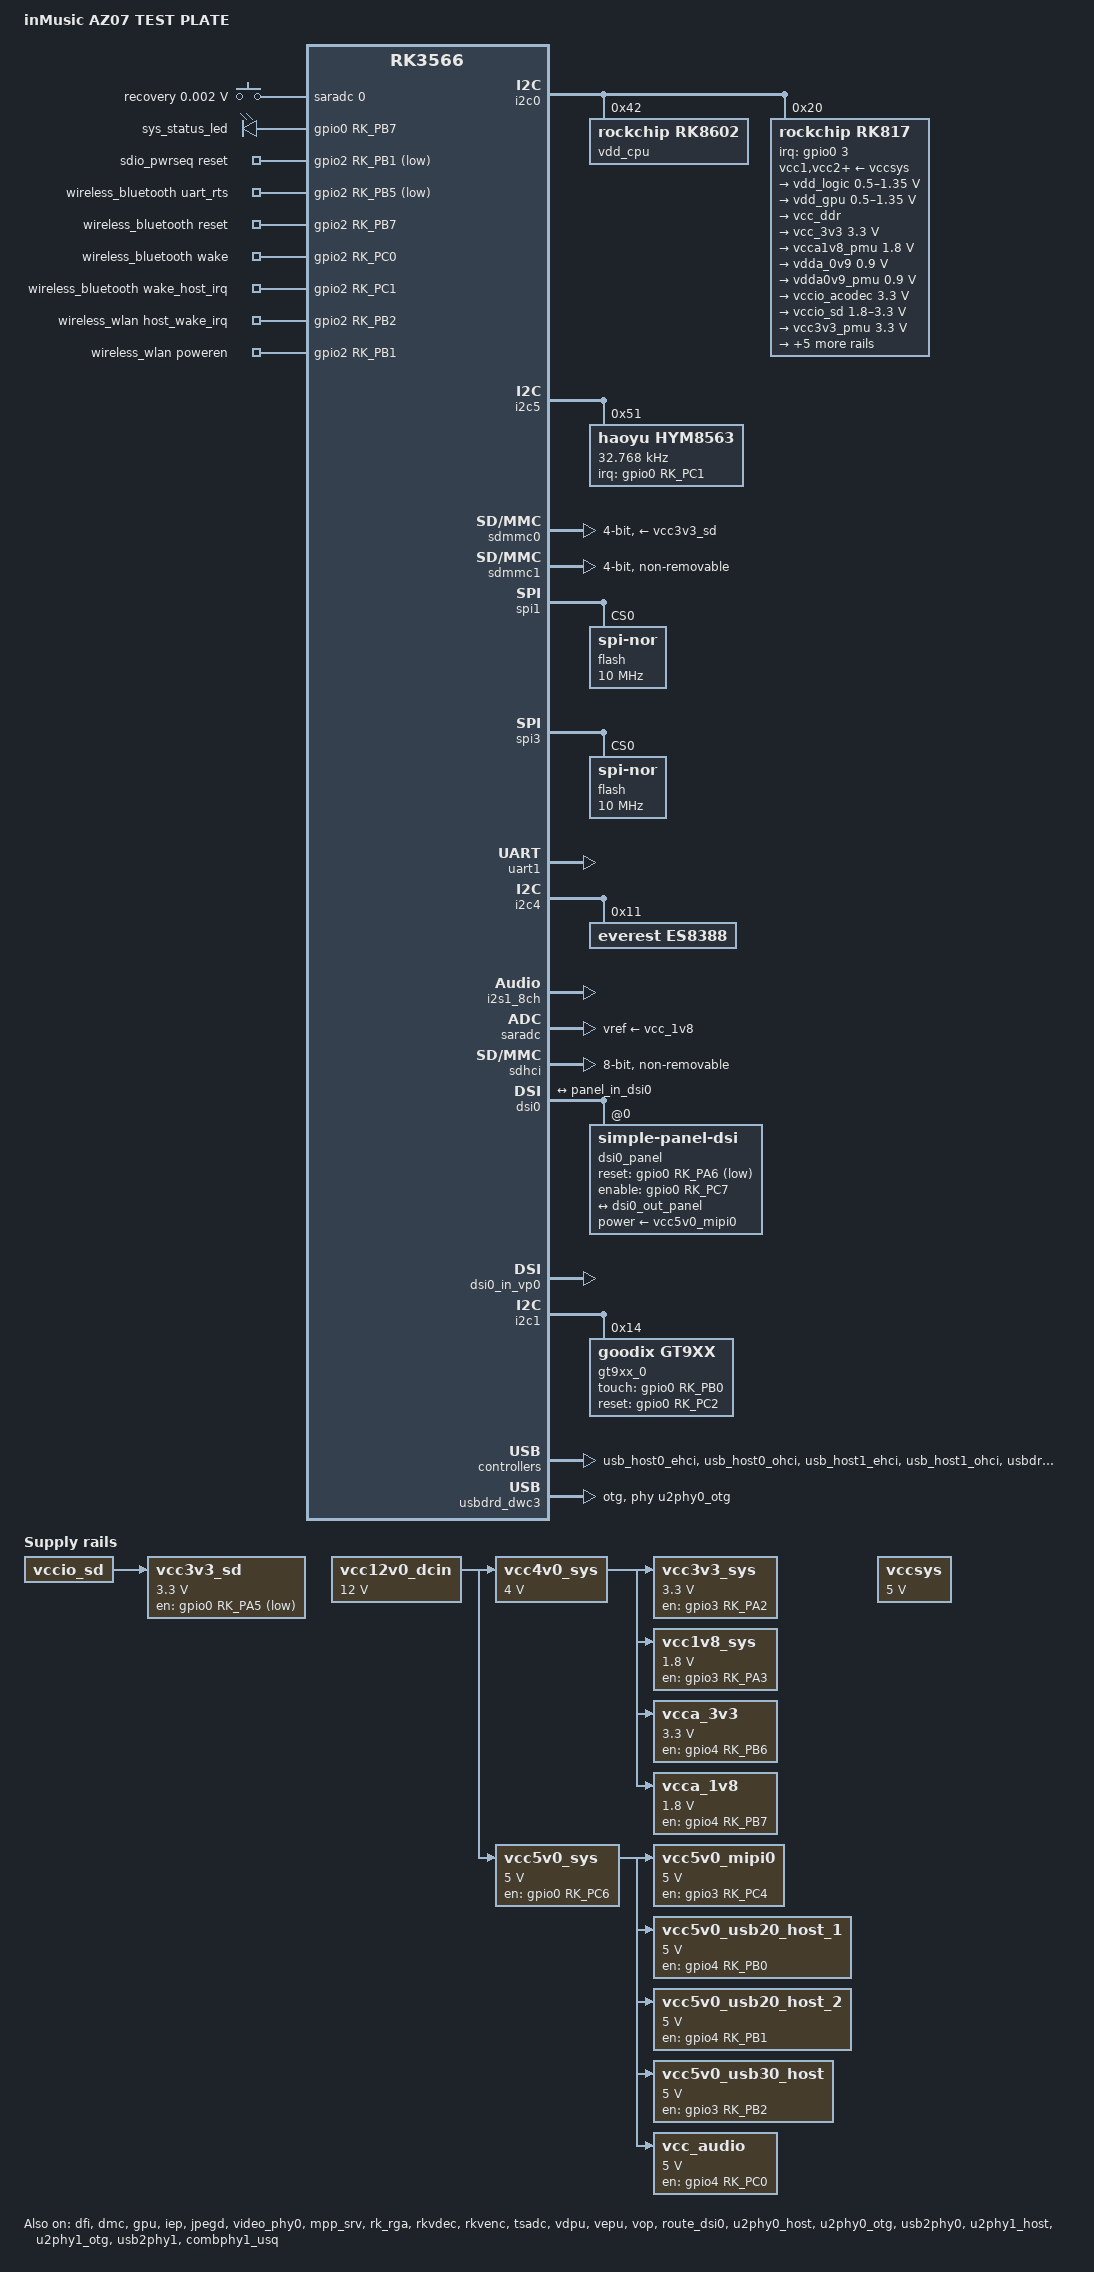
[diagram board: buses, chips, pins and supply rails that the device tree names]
// SPDX-License-Identifier: (GPL-2.0+ OR MIT)
/*
 * Copyright (c) 2025 Rockchip Electronics Co., Ltd.
 * Copyright (c) 2025 Focalcrest Co., Ltd.
 */

/dts-v1/;

#include <dt-bindings/gpio/gpio.h>
#include <dt-bindings/pinctrl/rockchip.h>
#include <dt-bindings/pwm/pwm.h>
#include <dt-bindings/input/rk-input.h>
#include <dt-bindings/display/drm_mipi_dsi.h>
#include <dt-bindings/display/media-bus-format.h>
#include <dt-bindings/display/rockchip_vop.h>
#include "rk3566.dtsi"
#include "rk3568-linux.dtsi"

/ {
	model = "inMusic AZ07 TEST PLATE";
	compatible = "rockchip,rk3588s-inmusic-az07", "rockchip,rk3566";

        recovery_key: recovery-key {
                compatible = "adc-keys";
                io-channels = <&saradc 0>;
                io-channel-names = "buttons";
                keyup-threshold-microvolt = <1800000>;
                poll-interval = <100>;

                recovery {
                        label = "recovery";
                        linux,code = <KEY_VOLUMEUP>;
                        press-threshold-microvolt = <2000>;
                };
        };

        leds: leds {
                compatible = "gpio-leds";
                status = "okay";

                sys_status_led: sys-status-led {
                        label = "sys_status_led";
                        linux,default-trigger = "heartbeat";
			gpios = <&gpio0 RK_PB7 GPIO_ACTIVE_HIGH>;
                        pinctrl-names = "default";
                        pinctrl-0 = <&sys_status_led_pin>;
                };
        };

        vcc12v0_dcin: vcc5v0-dcin {
                compatible = "regulator-fixed";
                regulator-name = "vcc12v_dcin";
                regulator-always-on;
                regulator-boot-on;
                regulator-min-microvolt = <12000000>;
                regulator-max-microvolt = <12000000>;
        };

        vcc4v0_sys: vcc4v0-sys {
                compatible = "regulator-fixed";
                regulator-name = "vcc4v0_sys";
                regulator-always-on;
                regulator-boot-on;
                regulator-min-microvolt = <4000000>;
                regulator-max-microvolt = <4000000>;
                vin-supply = <&vcc12v0_dcin>;
        };

        vcc5v0_sys: vcc5v0-sys {
                compatible = "regulator-fixed";
                regulator-name = "vcc5v0_sys";
                regulator-always-on;
                regulator-boot-on;
                regulator-min-microvolt = <5000000>;
                regulator-max-microvolt = <5000000>;
                enable-active-high;
                gpio = <&gpio0 RK_PC6 GPIO_ACTIVE_HIGH>;
                vin-supply = <&vcc12v0_dcin>;
        };

        vcc3v3_sys: vcc3v3-sys {
                compatible = "regulator-fixed";
                regulator-name = "vcc3v3_sys";
                regulator-always-on;
                regulator-boot-on;
                regulator-min-microvolt = <3300000>;
                regulator-max-microvolt = <3300000>;
                enable-active-high;
                gpio = <&gpio3 RK_PA2 GPIO_ACTIVE_HIGH>;
                vin-supply = <&vcc4v0_sys>;
        };

        vcc1v8_sys: vcc1v8-sys {
                compatible = "regulator-fixed";
                regulator-name = "vcc1v8_sys";
                regulator-always-on;
                regulator-boot-on;
                regulator-min-microvolt = <1800000>;
                regulator-max-microvolt = <1800000>;
                enable-active-high;
                gpio = <&gpio3 RK_PA3 GPIO_ACTIVE_HIGH>;
                vin-supply = <&vcc4v0_sys>;
        };

        vcca_3v3: vcca-3v3 {
                compatible = "regulator-fixed";
                regulator-name = "vcca_3v3";
                regulator-always-on;
                regulator-boot-on;
                regulator-min-microvolt = <3300000>;
                regulator-max-microvolt = <3300000>;
                enable-active-high;
                gpio = <&gpio4 RK_PB6 GPIO_ACTIVE_HIGH>;
                vin-supply = <&vcc4v0_sys>;
        };

        vcca_1v8: vcca-1v8 {
                compatible = "regulator-fixed";
                regulator-name = "vcca_1v8";
                regulator-always-on;
                regulator-boot-on;
                regulator-min-microvolt = <1800000>;
                regulator-max-microvolt = <1800000>;
                enable-active-high;
                gpio = <&gpio4 RK_PB7 GPIO_ACTIVE_HIGH>;
                vin-supply = <&vcc4v0_sys>;
        };

        vcc5v0_mipi0: vcc5v0-mipi0 {
                compatible = "regulator-fixed";
                regulator-name = "vcc5v0_mipi0";
                regulator-min-microvolt = <5000000>;
                regulator-max-microvolt = <5000000>;
                gpio = <&gpio3 RK_PC4 GPIO_ACTIVE_HIGH>;
                vin-supply = <&vcc5v0_sys>;
                enable-active-high;
                regulator-boot-on;
                regulator-always-on;
        };

        vcc5v0_usb20_host_1: vcc5v0-usb20-host-1 {
                compatible = "regulator-fixed";
                regulator-name = "vcc5v0_usb20_host_1";
                regulator-min-microvolt = <5000000>;
                regulator-max-microvolt = <5000000>;
                enable-active-high;
                regulator-boot-on;
                regulator-always-on;
                gpio = <&gpio4 RK_PB0 GPIO_ACTIVE_HIGH>;
                vin-supply = <&vcc5v0_sys>;
                pinctrl-names = "default";
                pinctrl-0 = <&usb20_host_1_pwr_en>;
        };

        vcc5v0_usb20_host_2: vcc5v0-usb20-host-2 {
                compatible = "regulator-fixed";
                regulator-name = "vcc5v0_usb20_host_2";
                regulator-min-microvolt = <5000000>;
                regulator-max-microvolt = <5000000>;
                enable-active-high;
                regulator-boot-on;
                regulator-always-on;
                gpio = <&gpio4 RK_PB1 GPIO_ACTIVE_HIGH>;
                vin-supply = <&vcc5v0_sys>;
                pinctrl-names = "default";
                pinctrl-0 = <&usb20_host_2_pwr_en>;
        };

        vcc5v0_usb30_host: vcc5v0-usb30-host {
                compatible = "regulator-fixed";
                regulator-name = "vcc5v0_usb30_host";
                regulator-min-microvolt = <5000000>;
                regulator-max-microvolt = <5000000>;
                enable-active-high;
                regulator-boot-on;
                regulator-always-on;
                gpio = <&gpio3 RK_PB2 GPIO_ACTIVE_HIGH>;
                vin-supply = <&vcc5v0_sys>;
                pinctrl-names = "default";
                pinctrl-0 = <&usb30_host_pwr_en>;
        };

        vcc3v3_sd: vcc3v3-sd {
                compatible = "regulator-fixed";
                regulator-name = "vcc3v3_sd";
                regulator-min-microvolt = <3300000>;
                regulator-max-microvolt = <3300000>;
                enable-active-low;
                regulator-boot-on;
                regulator-always-on;
                gpio = <&gpio0 RK_PA5 GPIO_ACTIVE_LOW>;
                vin-supply = <&vccio_sd>;
        };

        vcc_audio: vcc-audio {
                compatible = "regulator-fixed";
                regulator-name = "vcc_audio";
                regulator-min-microvolt = <5000000>;
                regulator-max-microvolt = <5000000>;
                gpio = <&gpio4 RK_PC0 GPIO_ACTIVE_HIGH>;
                vin-supply = <&vcc5v0_sys>;
                enable-active-high;
                regulator-boot-on;
                regulator-always-on;
        };

	vccsys: vccsys {
		compatible = "regulator-fixed";
		regulator-name = "vcc5_sys";
		regulator-always-on;
		regulator-boot-on;
		regulator-min-microvolt = <5000000>;
		regulator-max-microvolt = <5000000>;
	};

        sdio_pwrseq: sdio-pwrseq {
                compatible = "mmc-pwrseq-simple";
                clocks = <&hym8563>;
                clock-names = "ext_clock";
                pinctrl-names = "default";
                pinctrl-0 = <&wifi_enable_h>;
                /*
                 * On the module itself this is one of these (depending
                 * on the actual card populated):
                 * - SDIO_RESET_L_WL_REG_ON
                 * - PDN (power down when low)
                 */
                post-power-on-delay-ms = <200>;
                reset-gpios = <&gpio2 RK_PB1 GPIO_ACTIVE_LOW>;
        };

        wireless_bluetooth: wireless-bluetooth {
                compatible = "bluetooth-platdata";
                clocks = <&hym8563>;
                clock-names = "ext_clock";
                uart_rts_gpios = <&gpio2 RK_PB5 GPIO_ACTIVE_LOW>;
                pinctrl-names = "default", "rts_gpio";
                pinctrl-0 = <&uart1m0_rtsn>,  <&bt_reset_gpio>, <&bt_wake_gpio>, <&bt_irq_gpio>;
                pinctrl-1 = <&uart1_gpios>;
                BT,reset_gpio    = <&gpio2 RK_PB7 GPIO_ACTIVE_HIGH>;
                BT,wake_gpio     = <&gpio2 RK_PC0 GPIO_ACTIVE_HIGH>;
                BT,wake_host_irq = <&gpio2 RK_PC1 GPIO_ACTIVE_HIGH>;
                status = "okay";
        };

        wireless_wlan: wireless-wlan {
                compatible = "wlan-platdata";
		rockchip,grf = <&grf>;
                wifi_chip_type = "ap6256";
                pinctrl-names = "default";
                pinctrl-0 = <&wifi_host_wake_irq>;
                WIFI,host_wake_irq = <&gpio2 RK_PB2 GPIO_ACTIVE_HIGH>;
                WIFI,poweren_gpio = <&gpio2 RK_PB1 GPIO_ACTIVE_HIGH>;
                status = "okay";
        };

        es8388_sound: es8388-sound {
                status = "okay";
                compatible = "rockchip,multicodecs-card";
                rockchip,card-name = "rockchip-es8388";
                rockchip,format = "i2s";
                rockchip,mclk-fs = <256>;
                rockchip,cpu = <&i2s1_8ch>;
                rockchip,codec = <&es8388>;
                rockchip,audio-routing =
                        "Headphone", "LOUT1",
                        "Headphone", "ROUT1",
                        "Speaker", "LOUT2",
                        "Speaker", "ROUT2",
                        "Headphone", "Headphone Power",
                        "Headphone", "Headphone Power",
                        "Speaker", "Speaker Power",
                        "Speaker", "Speaker Power",
                        "LINPUT1", "Headset Mic",
                        "RINPUT1", "Headset Mic",
                        "LINPUT2", "Main Mic",
                        "RINPUT2", "Main Mic";
        };
};

&bus_npu {
	bus-supply = <&vdd_logic>;
	pvtm-supply = <&vdd_cpu>;
	status = "disabled";
};

&cpu0 {
        cpu-supply = <&vdd_cpu>;
};

&cpu1 {
        cpu-supply = <&vdd_cpu>;
};

&cpu2 {
        cpu-supply = <&vdd_cpu>;
};

&cpu3 {
        cpu-supply = <&vdd_cpu>;
};

&dfi {
	status = "okay";
};

&dmc {
	center-supply = <&vdd_logic>;
	status = "okay";
};

&gpu {
	mali-supply = <&vdd_gpu>;
	status = "okay";
};

&i2c0 {
	status = "okay";

        vdd_cpu: regulator@42 {
                compatible = "rockchip,rk8602";
                reg = <0x42>;
                rockchip,suspend-voltage-selector = <1>;
                regulator-name = "vdd_cpu";
                regulator-always-on;
                regulator-boot-on;
                regulator-min-microvolt = <712500>;
                regulator-max-microvolt = <1200000>;
                regulator-ramp-delay = <2300>;
		status = "okay";

                regulator-state-mem {
                        regulator-on-in-suspend;
                };
        };

	rk817: pmic@20 {
		compatible = "rockchip,rk817";
		reg = <0x20>;
		interrupt-parent = <&gpio0>;
		interrupts = <3 IRQ_TYPE_LEVEL_LOW>;

		pinctrl-names = "default";
		pinctrl-0 = <&pmic_int>;
		rockchip,system-power-controller;
		wakeup-source;
		#clock-cells = <1>;
		clock-output-names = "rk808-clkout1", "rk808-clkout2";
		//fb-inner-reg-idxs = <2>;
		/* 1: rst regs (default in codes), 0: rst the pmic */
		pmic-reset-func = <0>;
		/* not save the PMIC_POWER_EN register in uboot */
		not-save-power-en = <1>;

		vcc1-supply = <&vccsys>;
		vcc2-supply = <&vccsys>;
		vcc3-supply = <&vccsys>;
		vcc4-supply = <&vccsys>;
		vcc5-supply = <&vccsys>;
		vcc6-supply = <&vccsys>;
		vcc7-supply = <&vccsys>;
		vcc8-supply = <&vccsys>;

		pwrkey {
			status = "okay";
		};


		regulators {
			vdd_logic: DCDC_REG1 {
				regulator-always-on;
				regulator-boot-on;
				regulator-min-microvolt = <500000>;
				regulator-max-microvolt = <1350000>;
				regulator-init-microvolt = <900000>;
				regulator-ramp-delay = <6001>;
				regulator-initial-mode = <0x2>;
				regulator-name = "vdd_logic";
				regulator-state-mem {
					regulator-off-in-suspend;
					regulator-suspend-microvolt = <900000>;
				};
			};

			vdd_gpu: DCDC_REG2 {
				regulator-always-on;
				regulator-boot-on;
				regulator-min-microvolt = <500000>;
				regulator-max-microvolt = <1350000>;
				regulator-init-microvolt = <900000>;
				regulator-ramp-delay = <6001>;
				regulator-initial-mode = <0x2>;
				regulator-name = "vdd_gpu";
				regulator-state-mem {
					regulator-off-in-suspend;
				};
			};

			vcc_ddr: DCDC_REG3 {
				regulator-always-on;
				regulator-boot-on;
				regulator-initial-mode = <0x2>;
				regulator-name = "vcc_ddr";
				regulator-state-mem {
					regulator-on-in-suspend;
				};
			};

			vcc_3v3: DCDC_REG4 {
				regulator-always-on;
				regulator-boot-on;
				regulator-min-microvolt = <3300000>;
				regulator-max-microvolt = <3300000>;
				regulator-initial-mode = <0x2>;
				regulator-name = "vcc_3v3";
				regulator-state-mem {
					regulator-on-in-suspend;
					regulator-suspend-microvolt = <3300000>;
				};
			};

			vcca1v8_pmu: LDO_REG1 {
				regulator-always-on;
				regulator-boot-on;
				regulator-min-microvolt = <1800000>;
				regulator-max-microvolt = <1800000>;
				regulator-name = "vcca1v8_pmu";
				regulator-state-mem {
					regulator-on-in-suspend;
					regulator-suspend-microvolt = <1800000>;
				};
			};

			vdda_0v9: LDO_REG2 {
				regulator-always-on;
				regulator-boot-on;
				regulator-min-microvolt = <900000>;
				regulator-max-microvolt = <900000>;
				regulator-name = "vdda_0v9";
				regulator-state-mem {
					regulator-off-in-suspend;
				};
			};

			vdda0v9_pmu: LDO_REG3 {
				regulator-always-on;
				regulator-boot-on;
				regulator-min-microvolt = <900000>;
				regulator-max-microvolt = <900000>;
				regulator-name = "vdda0v9_pmu";
				regulator-state-mem {
					regulator-on-in-suspend;
					regulator-suspend-microvolt = <900000>;
				};
			};

			vccio_acodec: LDO_REG4 {
				regulator-always-on;
				regulator-boot-on;
				regulator-min-microvolt = <3300000>;
				regulator-max-microvolt = <3300000>;
				regulator-name = "vccio_acodec";
				regulator-state-mem {
					regulator-off-in-suspend;
				};
			};

			vccio_sd: LDO_REG5 {
				regulator-always-on;
				regulator-boot-on;
				regulator-min-microvolt = <1800000>;
				regulator-max-microvolt = <3300000>;
				regulator-name = "vccio_sd";
				regulator-state-mem {
					regulator-off-in-suspend;
				};
			};

			vcc3v3_pmu: LDO_REG6 {
				regulator-always-on;
				regulator-boot-on;
				regulator-min-microvolt = <3300000>;
				regulator-max-microvolt = <3300000>;
				regulator-name = "vcc3v3_pmu";
				regulator-state-mem {
					regulator-on-in-suspend;
					regulator-suspend-microvolt = <3000000>;
				};
			};

			vcc_1v8: LDO_REG7 {
				regulator-always-on;
				regulator-boot-on;
				regulator-min-microvolt = <1800000>;
				regulator-max-microvolt = <1800000>;
				regulator-name = "vcc_1v8";
				regulator-state-mem {
					regulator-off-in-suspend;
				};
			};

			vcc1v8_adc: LDO_REG8 {
				regulator-always-on;
				regulator-boot-on;
				regulator-min-microvolt = <1800000>;
				regulator-max-microvolt = <1800000>;
				regulator-name = "vcc1v8_adc";
				regulator-state-mem {
					regulator-off-in-suspend;
				};
			};

			vcc2v8_dvp: LDO_REG9 {
				regulator-always-on;
				regulator-boot-on;
				regulator-min-microvolt = <2800000>;
				regulator-max-microvolt = <2800000>;
				regulator-name = "vcc2v8_dvp";
				regulator-state-mem {
					regulator-off-in-suspend;
				};
			};

			dcdc_boost: BOOST {
				regulator-always-on;
				regulator-boot-on;
				regulator-min-microvolt = <5000000>;
				regulator-max-microvolt = <5000000>;
				regulator-name = "boost";
				regulator-state-mem {
					regulator-off-in-suspend;
				};
			};

			otg_switch: OTG_SWITCH {
				regulator-name = "otg_switch";
				regulator-state-mem {
					regulator-off-in-suspend;
				};
			};
		};

	};
};

&i2c5 {
        pinctrl-names = "default";
        pinctrl-0 = <&i2c5m0_xfer>;
        status = "okay";

        hym8563: hym8563@51 {
                compatible = "haoyu,hym8563";
                reg = <0x51>;
                #clock-cells = <0>;
                clock-frequency = <32768>;
                clock-output-names = "hym8563";
                pinctrl-names = "default";
                pinctrl-0 = <&hym8563_int>;
                interrupt-parent = <&gpio0>;
                interrupts = <RK_PC1 IRQ_TYPE_LEVEL_LOW>;
                wakeup-source;
        };
};

&iep {
	status = "okay";
};

&iep_mmu {
	status = "okay";
};

&jpegd {
	status = "okay";
};

&jpegd_mmu {
	status = "okay";
};

&video_phy0 {
	status = "okay";
};

&mpp_srv {
	status = "okay";
};

&rk_rga {
        status = "okay";
};

&sdmmc0 {
        max-frequency = <150000000>;
        supports-sd;
        bus-width = <4>;
        cap-mmc-highspeed;
        cap-sd-highspeed;
        disable-wp;
        sd-uhs-sdr104;
        vmmc-supply = <&vcc3v3_sd>;
        vqmmc-supply = <&vccio_sd>;
        pinctrl-names = "default";
        pinctrl-0 = <&sdmmc0_bus4 &sdmmc0_clk &sdmmc0_cmd &sdmmc0_det>;
        status = "okay";
};

&sdmmc1 {
	bus-width = <4>;
	supports-sdio;
	cap-sd-highspeed;
	cap-sdio-irq;
	keep-power-in-suspend;
	mmc-pwrseq = <&sdio_pwrseq>;
	non-removable;
	pinctrl-names = "default";
	pinctrl-0 = <&sdmmc1_bus4 &sdmmc1_clk &sdmmc1_cmd>;
	status = "okay";
};

&spi1 {
        status = "okay";
        pinctrl-names = "default";
        pinctrl-0 = <&spi1m1_pins &spi1m1_cs0>;
        num-cs = <1>;

        flash@0 {
                compatible = "jedec,spi-nor";
                reg = <0>;
                spi-max-frequency = <10000000>;
                #address-cells = <1>;
                #size-cells    = <1>;
        };
};

&spi3 {
        status = "okay";
        pinctrl-names = "default";
        pinctrl-0 = <&spi3m1_pins &spi3m1_cs0>;
        num-cs = <1>;

        flash@0 {
                compatible = "jedec,spi-nor";
                reg = <0>;
                spi-max-frequency = <10000000>;
                #address-cells = <1>;
                #size-cells    = <1>;
        };
};

&uart1 {
        pinctrl-names = "default";
        pinctrl-0 = <&uart1m0_xfer &uart1m0_ctsn>;
        status = "okay";
};

&i2c4 {
        pinctrl-names = "default";
        pinctrl-0 = <&i2c4m0_xfer>;
        status = "okay";

        es8388: es8388@11 {
                status = "okay";
                #sound-dai-cells = <0>;
                compatible = "everest,es8388", "everest,es8323";
                reg = <0x11>;
		clocks = <&cru I2S1_MCLKOUT>;
                clock-names = "mclk";
		assigned-clocks = <&cru I2S1_MCLKOUT>, <&cru I2S1_MCLK_TX_IOE>;
		assigned-clock-parents = <&cru I2S1_MCLKOUT_TX>, <&cru I2S1_MCLKOUT_TX>;
                assigned-clock-rates = <12288000>;
                pinctrl-names = "default";
                pinctrl-0 = <&i2s1m1_mclk>;
        };
};

&i2s1_8ch {
        status = "okay";
        #sound-dai-cells = <0>;
	rockchip,trcm-sync-tx-only;
	/delete-property/ i2s-lrck-gpio;
        pinctrl-names = "default";
        pinctrl-0 = <&i2s1m1_sclktx
                     &i2s1m1_lrcktx
                     &i2s1m1_sdo0
                     &i2s1m1_sdi0>;
};

&pinctrl {
	pmic {
		pmic_int: pmic_int {
			rockchip,pins =
				<0 RK_PA3 RK_FUNC_GPIO &pcfg_pull_up>;
		};
	};

        hym8563 {
                hym8563_int: hym8563-int {
                        rockchip,pins = <0 RK_PC1 RK_FUNC_GPIO &pcfg_pull_up>;
                };
        };

        sdio-pwrseq {
                wifi_enable_h: wifi-enable-h {
                        rockchip,pins = <2 RK_PB1 RK_FUNC_GPIO &pcfg_pull_none>;
                };
        };

        leds {
                sys_status_led_pin: sys-status-led-pin {
                        rockchip,pins = <0 RK_PB7 RK_FUNC_GPIO &pcfg_pull_none>;
                };
        };

        wireless-bluetooth {
                uart1_gpios: uart1-gpios {
                        rockchip,pins = <2 RK_PB5 RK_FUNC_GPIO &pcfg_pull_none>;
                };

                bt_reset_gpio: bt-reset-gpio {
                        rockchip,pins = <2 RK_PB7 RK_FUNC_GPIO &pcfg_pull_none>;
                };

                bt_wake_gpio: bt-wake-gpio {
                        rockchip,pins = <2 RK_PC0 RK_FUNC_GPIO &pcfg_pull_none>;
                };

                bt_irq_gpio: bt-irq-gpio {
                        rockchip,pins = <2 RK_PC1 RK_FUNC_GPIO &pcfg_pull_down>;
                };
        };

        wireless-wlan {
                wifi_host_wake_irq: wifi-host-wake-irq {
                        rockchip,pins = <2 RK_PB2 RK_FUNC_GPIO &pcfg_pull_down>;
                };
        };


        mipi0 {
                mipi0_rst_gpio: mipi0-rst-gpio {
                        rockchip,pins = <0 RK_PA6 RK_FUNC_GPIO &pcfg_pull_none>,
                                        <0 RK_PC7 RK_FUNC_GPIO &pcfg_pull_none>;
                };
        };

        usb {
                usb30_host_pwr_en: usb30-host-pwr-en {
                        rockchip,pins = <3 RK_PB2 RK_FUNC_GPIO &pcfg_pull_none>;
                };

                usb20_host_1_pwr_en: usb20-host-1-pwr-en {
                        rockchip,pins = <4 RK_PB0 RK_FUNC_GPIO &pcfg_pull_none>;
                };

                usb20_host_2_pwr_en: usb20-host-2-pwr-en {
                        rockchip,pins = <4 RK_PB1 RK_FUNC_GPIO &pcfg_pull_none>;
                };
        };
        tp {
                tp0_int: tp0-int {
                        rockchip,pins =
                                <0 RK_PB0 RK_FUNC_GPIO &pcfg_pull_up>;
                };

        };
};

&pmu_io_domains {
	status = "okay";
	pmuio1-supply = <&vcc3v3_pmu>;
	pmuio2-supply = <&vcc_3v3>;
	vccio1-supply = <&vccio_acodec>;
	vccio3-supply = <&vccio_sd>;
	vccio4-supply = <&vcc_3v3>;
	vccio5-supply = <&vcc_3v3>;
	vccio6-supply = <&vcc_3v3>;
	vccio7-supply = <&vcc_3v3>;
};

&rkvdec {
	status = "okay";
};

&rkvdec_mmu {
	status = "okay";
};

&rkvenc {
	status = "okay";
};

&rkvenc_mmu {
	status = "okay";
};

&saradc {
	status = "okay";
	vref-supply = <&vcc_1v8>;
};

&sdhci {
        bus-width = <8>;
        supports-emmc;
        non-removable;
        max-frequency = <200000000>;
        status = "okay";
};


&tsadc {
	status = "okay";
};

&vdpu {
	status = "okay";
};

&vdpu_mmu {
	status = "okay";
};

&vepu {
	status = "okay";
};

&vepu_mmu {
	status = "okay";
};

&vop {
	status = "okay";
	assigned-clocks = <&cru DCLK_VOP0>, <&cru DCLK_VOP1>;
	assigned-clock-parents = <&pmucru PLL_HPLL>, <&cru PLL_VPLL>;
};

&vop_mmu {
	status = "okay";
};

/* MIPI DSI0 Display */
&dsi0 {
	rockchip,lane-rate = <348>;
        status = "okay";

        dsi0_panel: panel@0 {
                status = "okay";
                compatible = "simple-panel-dsi";
                reg = <0>;
                power-supply = <&vcc5v0_mipi0>;
                reset-gpios  = <&gpio0 RK_PA6 GPIO_ACTIVE_LOW>;
                enable-gpios = <&gpio0 RK_PC7 GPIO_ACTIVE_HIGH>;
                pinctrl-names = "default";
                pinctrl-0 = <&mipi0_rst_gpio>;
		bpc = <8>;
		bus-format = <MEDIA_BUS_FMT_RGB888_1X24>;
                prepare-delay-ms = <0>;
                reset-delay-ms = <0>;
                init-delay-ms = <0>;
                enable-delay-ms = <0>;
                disable-delay-ms = <0>;
                unprepare-delay-ms = <0>;
                width-mm = <154>;
                height-mm = <86>;
                dsi,flags = <(MIPI_DSI_MODE_VIDEO | MIPI_DSI_MODE_VIDEO_BURST | MIPI_DSI_MODE_LPM)>;
                dsi,format = <MIPI_DSI_FMT_RGB888>;
                dsi,lanes = <4>;

                panel-init-sequence = [
			05 78 01 11
			05 1E 01 29
                ];

                panel-exit-sequence = [
			05 00 01 28
			05 00 01 10
                ];

                display-timings {
                        native-mode = <&timing0>;

                        timing0: timing0 {
                                clock-frequency = <52000000>;
                                hactive = <1024>;
                                vactive = <600>;
                                hfront-porch = <150>;
                                hsync-len = <30>;
                                hback-porch = <150>;
                                vfront-porch = <10>;
                                vsync-len = <20>;
                                vback-porch = <10>;
                                hsync-active = <0>;
                                vsync-active = <0>;
                                de-active = <0>;
                                pixelclk-active = <1>;
                     };
                };


                ports {
                        #address-cells = <1>;
                        #size-cells = <0>;

                        port@0 {
                                reg = <0>;
                                panel_in_dsi0: endpoint {
                                        remote-endpoint = <&dsi0_out_panel>;
                                };
                        };
                };
        };

        ports {
                #address-cells = <1>;
                #size-cells = <0>;

                port@1 {
                        reg = <1>;
                        dsi0_out_panel: endpoint {
                                remote-endpoint = <&panel_in_dsi0>;
                        };
                };
        };
};

&dsi0_in_vp0 {
        status = "okay";
};

&dsi0_in_vp1 {
        status = "disabled";
};

&route_dsi0 {
        status = "okay";
        connect = <&vp0_out_dsi0>;
};

&video_phy0 {
    status = "okay";
};

&i2c1 {
        status = "okay";

        gt9xx_0: gt9xx-0@14 {
                compatible = "goodix,gt9xx";
                reg = <0x14>;
                pinctrl-names = "default";
                pinctrl-0 = <&tp0_int>;
                touch-gpio = <&gpio0 RK_PB0 GPIO_ACTIVE_HIGH>;
                reset-gpio = <&gpio0 RK_PC2 GPIO_ACTIVE_HIGH>;
                max-x = <4096>;
                max-y = <4096>;
                tp-size = <910>;
        };

};

/* USB */

&u2phy0_host {
        status = "okay";
};

&u2phy0_otg {
        status = "okay";
};

&usb2phy0 {
        status = "okay";
};

&u2phy1_host {
        status = "okay";
};

&u2phy1_otg {
        status = "okay";
};

&usb2phy1 {
        status = "okay";
};

&usb_host0_ehci {
        status = "okay";
};

&usb_host0_ohci {
        status = "okay";
};

&usb_host1_ehci {
        status = "okay";
};

&usb_host1_ohci {
        status = "okay";
};

&usbdrd_dwc3 {
        dr_mode = "otg";
        phys = <&u2phy0_otg>;
        extcon = <&usb2phy0>;
        status = "okay";
};

&usbdrd30 {
        status = "okay";
};

&usbhost_dwc3 {
        status = "okay";
};

&usbhost30 {
        status = "okay";
};

&combphy1_usq {
        status = "okay";
};
